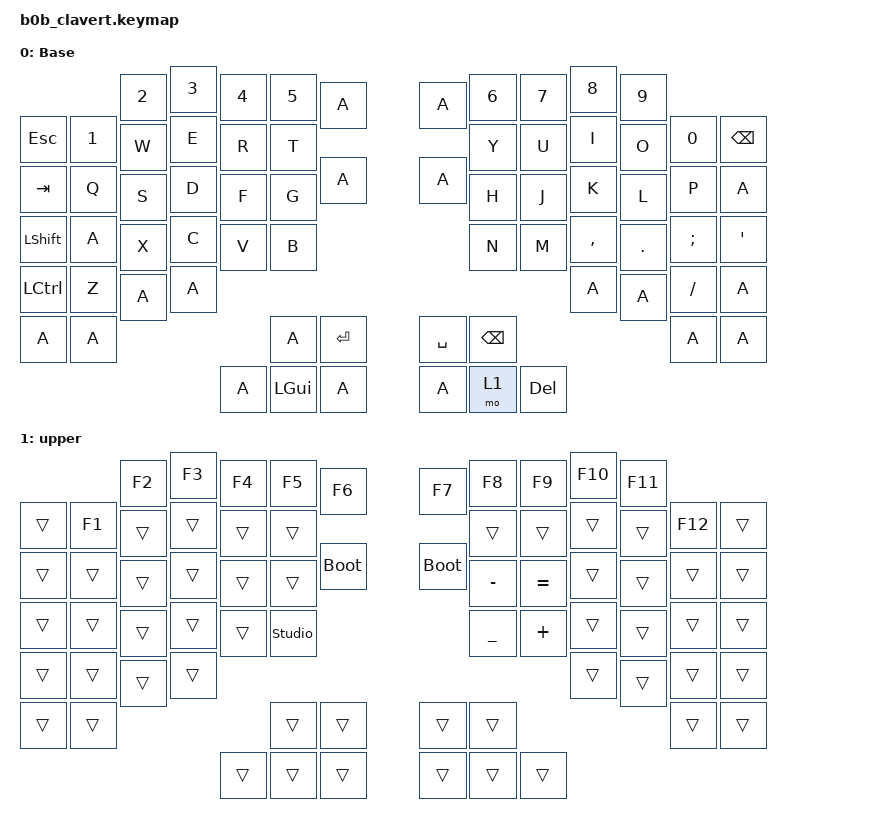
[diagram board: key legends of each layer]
#include <behaviors.dtsi>
#include <dt-bindings/zmk/keys.h>

/ {
    keymap {
        compatible = "zmk,keymap";

        Base {
            display-name = "Base";
            bindings = <
&kp A           &kp A                                                           &kp A      &kp A
&kp Q           &kp N5                                                          &kp N6     &kp P
&kp F                                                                                      &kp J
&kp LEFT_SHIFT  &kp E                                                           &kp I      &kp SQT
&kp TAB         &kp C         &kp A   &kp R   &kp A    &kp A    &kp U   &kp A   &kp COMMA  &kp A
&kp ESCAPE      &kp RET                                                         &kp SPACE  &kp BACKSPACE
&kp T           &kp A                                                           &kp BSPC   &kp Y
&kp A           &kp LEFT_GUI                                                    &mo 1      &kp A
&kp V           &kp B                                                           &kp N      &kp M
&kp X           &kp W         &kp N2  &kp N3  &kp A    &kp DEL  &kp N8  &kp N9  &kp O      &kp DOT
&kp D                                                                                      &kp K
&kp S           &kp A                                                           &kp A      &kp L
&kp N1          &kp A                                                           &kp SEMI   &kp N0
&kp A           &kp Z         &kp G                                     &kp H   &kp FSLH   &kp A
&kp LCTRL       &kp NUMBER_4                                                    &kp N7     &kp A
            >;
        };

        upper {
            bindings = <
&trans  &kp F6                                                                          &kp F7     &trans
&trans  &kp F5                                                                          &kp F8     &trans
&trans                                                                                             &kp EQUAL
&trans  &trans                                                                          &trans     &trans
&trans  &trans          &trans  &trans  &bootloader    &bootloader  &trans   &trans     &trans     &trans
&trans  &trans                                                                          &trans     &trans
&trans  &trans                                                                          &trans     &trans
&trans  &trans                                                                          &trans     &trans
&trans  &studio_unlock                                                                  &kp UNDER  &kp PLUS
&trans  &trans          &kp F2  &kp F3  &trans         &trans       &kp F10  &kp F11    &trans     &trans
&trans                                                                                             &trans
&trans  &trans                                                                          &trans     &trans
&kp F1  &trans                                                                          &trans     &kp F12
&trans  &trans          &trans                                               &kp MINUS  &trans     &trans
&trans  &kp F4                                                                          &kp F9     &trans
            >;
        };
    };
};
